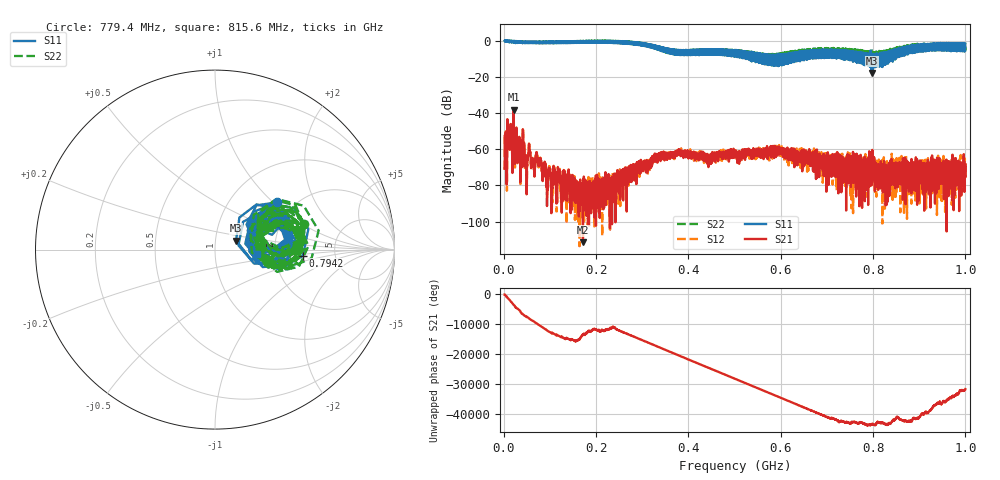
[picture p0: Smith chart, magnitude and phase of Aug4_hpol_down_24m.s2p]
!Keysight Technologies N9923A: A.12.45
!Date: Tuesday, 05 August 2025 18:30:09
!Timezone: (UTC+08:00) Kuala Lumpur, Singapore
!Model: N9923A
!Serial: MY61181427
!GPS Latitude:
!GPS Longitude:
!GPS TimeStamp: 0001-01-01 00:00:00Z
!GPS Seconds Since Last Read: 0
!CHECKSUM:0072507570
!Correction: S11(ON U)S21(ON U)S12(ON U)S22(ON U)
!S2P File: Measurements:S11,S21,S12,S22:
# Hz S DB R 50
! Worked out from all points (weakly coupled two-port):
!   4001 points, 2 MHz to 1 GHz, reference 50 ohm
!   highest |S21| = -38.09 dB at 21.46 MHz (marker M1); lowest = -111.5 dB at 171.7 MHz (marker M2)
!   lowest |S11| = -17.9 dB at 796.9 MHz (marker M3), VSWR 1.29, Z = 62.9 + j6.47 ohm
!   |S11| at or under -10 dB: 569.0838 MHz to 569.8713 MHz (787.5 kHz wide, 0.138 % of centre); 575.839 MHz to 576.6552 MHz (816.2 kHz wide, 0.142 % of centre); 582.5741 MHz to 583.3991 MHz (825 kHz wide, 0.142 % of centre)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
!   |S22| runs from -13.7 to 0.1 dB; largest |S21 - S12| = 0.0011
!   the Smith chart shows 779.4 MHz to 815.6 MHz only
!   S11 on the Smith chart (normalised r, x): 779.4 MHz: 1.63, +1.06; 794.2 MHz: 2.90, -0.26; 815.6 MHz: 1.61, -0.08
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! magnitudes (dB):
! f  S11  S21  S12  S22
! 2 MHz  -0.1  -70.8  -71.2  -0.1
! 12.48 MHz  -0.5  -56.1  -55.7  -1.0
! 21.46 MHz  -0.6  -38.1  -38.1  -0.4
! 37.93 MHz  -0.8  -57.9  -57.7  -1.1
! 48.16 MHz  -0.7  -63.8  -63.4  -0.8
! 74.6 MHz  -1.3  -68.8  -67.6  -1.2
! 100.8 MHz  -0.8  -72.6  -72.0  -0.7
! 168.4 MHz  -1.2  -86.8  -80.9  -1.0
! 171.7 MHz  -1.1  -111.5  -97.6  -0.9
! 233 MHz  -0.2  -80.6  -81.9  -0.1
! 334.8 MHz  -4.0  -62.5  -63.9  -4.7
! 501 MHz  -6.0  -63.4  -63.1  -6.9
! 597.6 MHz  -8.3  -59.6  -61.4  -7.0
! 667.4 MHz  -8.7  -68.9  -62.3  -8.3
! 779.4 MHz  -7.2  -72.4  -72.8  -5.8
! 794.2 MHz  -6.2  -65.2  -74.1  -10.6
! 796.9 MHz  -17.9  -63.3  -71.2  -7.0
! 815.6 MHz  -12.6  -81.7  -73.7  -9.6
! 833.8 MHz  -9.1  -68.3  -70.4  -5.4
! 930.6 MHz  -2.3  -66.1  -84.8  -5.1
! 972.3 MHz  -5.2  -70.3  -72.6  -3.6
! 1 GHz  -1.7  -68.3  -69.7  -3.3
